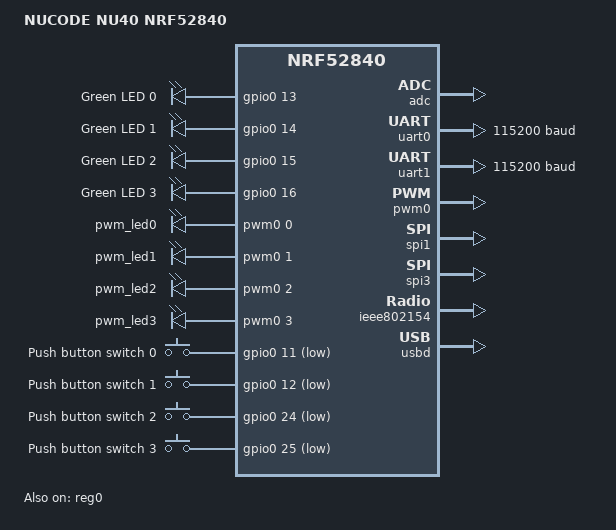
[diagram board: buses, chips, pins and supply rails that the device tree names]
/*
 * Copyright (c) 2026 NUCODE Co., Ltd.
 *
 * SPDX-License-Identifier: Apache-2.0
 */

/dts-v1/;
#include <nordic/nrf52840_qiaa.dtsi>
#include "nucode_nu40_nrf52840-pinctrl.dtsi"
#include <zephyr/dt-bindings/input/input-event-codes.h>

/ {
	model = "NUCODE NU40 NRF52840";
	compatible = "nucode,nucode-nu40-nrf52840";

	chosen {
		zephyr,sram = &sram0;
		zephyr,flash = &flash0;
		zephyr,code-partition = &slot0_partition;
		zephyr,ieee802154 = &ieee802154;
	};

	leds {
		compatible = "gpio-leds";

		led0: led_0 {
			gpios = <&gpio0 13 GPIO_ACTIVE_HIGH>;
			label = "Green LED 0";
		};

		led1: led_1 {
			gpios = <&gpio0 14 GPIO_ACTIVE_HIGH>;
			label = "Green LED 1";
		};

		led2: led_2 {
			gpios = <&gpio0 15 GPIO_ACTIVE_HIGH>;
			label = "Green LED 2";
		};

		led3: led_3 {
			gpios = <&gpio0 16 GPIO_ACTIVE_HIGH>;
			label = "Green LED 3";
		};
	};

	pwmleds {
		compatible = "pwm-leds";

		pwm_led0: pwm_led_0 {
			pwms = <&pwm0 0 PWM_MSEC(20) PWM_POLARITY_NORMAL>;
		};

		pwm_led1: pwm_led_1 {
			pwms = <&pwm0 1 PWM_MSEC(20) PWM_POLARITY_NORMAL>;
		};

		pwm_led2: pwm_led_2 {
			pwms = <&pwm0 2 PWM_MSEC(20) PWM_POLARITY_NORMAL>;
		};

		pwm_led3: pwm_led_3 {
			pwms = <&pwm0 3 PWM_MSEC(20) PWM_POLARITY_NORMAL>;
		};
	};

	buttons {
		compatible = "gpio-keys";

		button0: button_0 {
			gpios = <&gpio0 11 (GPIO_PULL_UP | GPIO_ACTIVE_LOW)>;
			label = "Push button switch 0";
			zephyr,code = <INPUT_KEY_0>;
		};

		button1: button_1 {
			gpios = <&gpio0 12 (GPIO_PULL_UP | GPIO_ACTIVE_LOW)>;
			label = "Push button switch 1";
			zephyr,code = <INPUT_KEY_1>;
		};

		button2: button_2 {
			gpios = <&gpio0 24 (GPIO_PULL_UP | GPIO_ACTIVE_LOW)>;
			label = "Push button switch 2";
			zephyr,code = <INPUT_KEY_2>;
		};

		button3: button_3 {
			gpios = <&gpio0 25 (GPIO_PULL_UP | GPIO_ACTIVE_LOW)>;
			label = "Push button switch 3";
			zephyr,code = <INPUT_KEY_3>;
		};
	};

	/* These aliases are provided for compatibility with samples */
	aliases {
		sw0 = &button0;
		sw1 = &button1;
		sw2 = &button2;
		sw3 = &button3;
		led0 = &led0;
		led1 = &led1;
		led2 = &led2;
		led3 = &led3;
		pwm-led0 = &pwm_led0;
		pwm-led1 = &pwm_led1;
		pwm-led2 = &pwm_led2;
		pwm-led3 = &pwm_led3;
		mcuboot-button0 = &button0;
		mcuboot-led0 = &led0;
		watchdog0 = &wdt0;
	};
};

&reg0 {
	status = "okay";
};

&reg1 {
	regulator-initial-mode = <NRF5X_REG_MODE_DCDC>;
};

&adc {
	status = "okay";
};

&gpiote {
	status = "okay";
};

&uicr {
	nfct-pins-as-gpios;
	gpio-as-nreset;
};

&gpio0 {
	status = "okay";
};

&gpio1 {
	status = "okay";
};

&uart0 {
	compatible = "nordic,nrf-uarte";
	status = "okay";
	current-speed = <115200>;
	pinctrl-0 = <&uart0_default>;
	pinctrl-1 = <&uart0_sleep>;
	pinctrl-names = "default", "sleep";
};

&uart1 {
	compatible = "nordic,nrf-uarte";
	status = "okay";
	current-speed = <115200>;
	pinctrl-0 = <&uart1_default>;
	pinctrl-1 = <&uart1_sleep>;
	pinctrl-names = "default", "sleep";
};

&i2c0 {
	compatible = "nordic,nrf-twi";
	/* Cannot be used together with spi0. */
	/* status = "okay"; */
	pinctrl-0 = <&i2c0_default>;
	pinctrl-1 = <&i2c0_sleep>;
	pinctrl-names = "default", "sleep";
};

&i2c1 {
	compatible = "nordic,nrf-twi";
	/* Cannot be used together with spi1. */
	/* status = "okay"; */
	pinctrl-0 = <&i2c1_default>;
	pinctrl-1 = <&i2c1_sleep>;
	pinctrl-names = "default", "sleep";
};

&pwm0 {
	status = "okay";
	pinctrl-0 = <&pwm0_default>;
	pinctrl-1 = <&pwm0_sleep>;
	pinctrl-names = "default", "sleep";
};

&spi1 {
	compatible = "nordic,nrf-spi";
	status = "okay";
	pinctrl-0 = <&spi1_default>;
	pinctrl-1 = <&spi1_sleep>;
	pinctrl-names = "default", "sleep";
};

&spi3 {
	compatible = "nordic,nrf-spim";
	status = "okay";
	pinctrl-0 = <&spi3_default>;
	pinctrl-1 = <&spi3_sleep>;
	pinctrl-names = "default", "sleep";
};

&ieee802154 {
	status = "okay";
};

zephyr_udc0: &usbd {
	compatible = "nordic,nrf-usbd";
	status = "okay";
};

#include <../boards/common/usb/cdc_acm_serial.dtsi>
